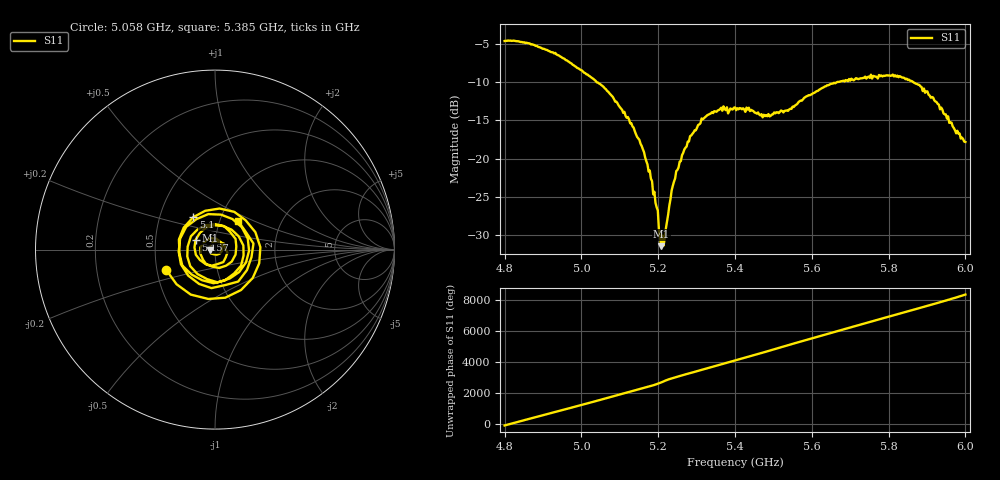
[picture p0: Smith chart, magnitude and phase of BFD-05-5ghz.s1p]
! NanoVNA-App
! Date: 2026-05-22 18:18:02
! Start: 4.8GHz Stop: 6GHz Points: 401
! S-Parameter data: F S11
# Hz S RI R 50
!  Frequency  S11_Real  S11_Imag
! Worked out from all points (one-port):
!   401 points, 4.8 GHz to 6 GHz, reference 50 ohm
!   lowest |S11| = -31.5 dB at 5.208 GHz (marker M1), VSWR 1.05, Z = 47.4 - j0.456 ohm
!   |S11| at or under -10 dB: 5.04 GHz to 5.665 GHz (625.1 MHz wide, 11.7 % of centre); 5.865 GHz to end of sweep
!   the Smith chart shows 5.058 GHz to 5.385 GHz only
!   S11 on the Smith chart (normalised r, x): 5.058 GHz: 0.56, -0.14; 5.1 GHz: 0.74, +0.28; 5.157 GHz: 0.80, +0.09; 5.385 GHz: 1.22, +0.41
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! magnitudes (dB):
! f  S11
! 4.8 GHz  -4.6
! 4.866 GHz  -4.9
! 4.95 GHz  -6.8
! 5.058 GHz  -10.6
! 5.1 GHz  -13.2
! 5.127 GHz  -15.4
! 5.157 GHz  -18.3
! 5.184 GHz  -23.0
! 5.193 GHz  -25.8
! 5.208 GHz  -31.5
! 5.214 GHz  -31.4
! 5.22 GHz  -29.2
! 5.235 GHz  -24.2
! 5.25 GHz  -21.5
! 5.283 GHz  -17.1
! 5.319 GHz  -14.7
! 5.364 GHz  -13.3
! 5.385 GHz  -13.8
! 5.4 GHz  -13.3
! 5.478 GHz  -14.4
! 5.55 GHz  -13.2
! 5.634 GHz  -10.5
! 5.7 GHz  -9.8
! 5.805 GHz  -9.2
! 5.85 GHz  -9.7
! 5.88 GHz  -10.3
! 5.919 GHz  -12.4
! 6 GHz  -17.8
